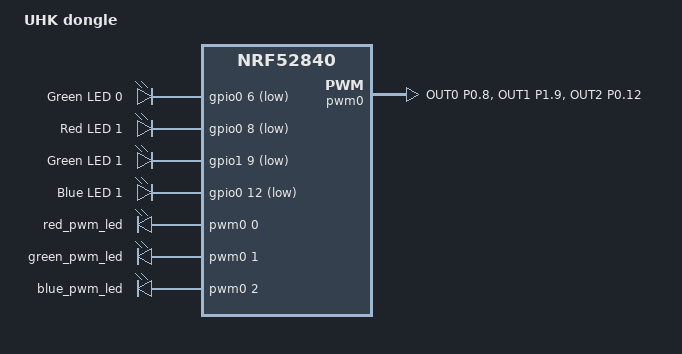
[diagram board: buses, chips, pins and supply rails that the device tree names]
/dts-v1/;
#include <nordic/nrf52840_qiaa.dtsi>
#include "../shared.dtsi"

&pwm0 {
    status = "okay";
    pinctrl-0 = <&pwm0_default>;
    pinctrl-1 = <&pwm0_sleep>;
    pinctrl-names = "default", "sleep";
};

&pinctrl {
    uart0_default: uart0_default {
        group1 {
            psels = <NRF_PSEL(UART_RX, 0, 29)>;
            bias-pull-up;
        };
        group2 {
            psels = <NRF_PSEL(UART_TX, 0, 22)>;
        };
    };

    uart0_sleep: uart0_sleep {
        group1 {
            psels = <NRF_PSEL(UART_RX, 0, 29)>,
                <NRF_PSEL(UART_TX, 0, 22)>;
            low-power-enable;
        };
    };

    pwm0_default: pwm0_default {
        group1 {
            psels = <NRF_PSEL(PWM_OUT0, 0, 8)>,
                <NRF_PSEL(PWM_OUT1, 1, 9)>,
                <NRF_PSEL(PWM_OUT2, 0, 12)>;
            nordic,invert;
        };
    };

    pwm0_sleep: pwm0_sleep {
        group1 {
            psels = <NRF_PSEL(PWM_OUT0, 0, 8)>,
                <NRF_PSEL(PWM_OUT1, 1, 9)>,
                <NRF_PSEL(PWM_OUT2, 0, 12)>;
            low-power-enable;
        };
    };
};

/ {
    model = "UHK dongle";
    compatible = "uhk-dongle";

    leds {
        compatible = "gpio-leds";
        led0_green: led_0 {
            gpios = <&gpio0 6 GPIO_ACTIVE_LOW>;
            label = "Green LED 0";
        };
        led1_red: led_1 {
            gpios = <&gpio0 8 GPIO_ACTIVE_LOW>;
            label = "Red LED 1";
        };
        led1_green: led_2 {
            gpios = <&gpio1 9 GPIO_ACTIVE_LOW>;
            label = "Green LED 1";
        };
        led1_blue: led_3 {
            gpios = <&gpio0 12 GPIO_ACTIVE_LOW>;
            label = "Blue LED 1";
        };
    };

    pwmleds {
        compatible = "pwm-leds";
        red_pwm_led: red_pwm_led {
            pwms = <&pwm0 0 PWM_MSEC(20) PWM_POLARITY_INVERTED>;
        };
        green_pwm_led: green_pwm_led {
            pwms = <&pwm0 1 PWM_MSEC(20) PWM_POLARITY_INVERTED>;
        };
        blue_pwm_led: blue_pwm_led {
            pwms = <&pwm0 2 PWM_MSEC(20) PWM_POLARITY_INVERTED>;
        };
    };

    aliases {
        led0-green = &led0_green;
        red-pwm-led = &red_pwm_led;
        green-pwm-led = &green_pwm_led;
        blue-pwm-led = &blue_pwm_led;
    };
};
